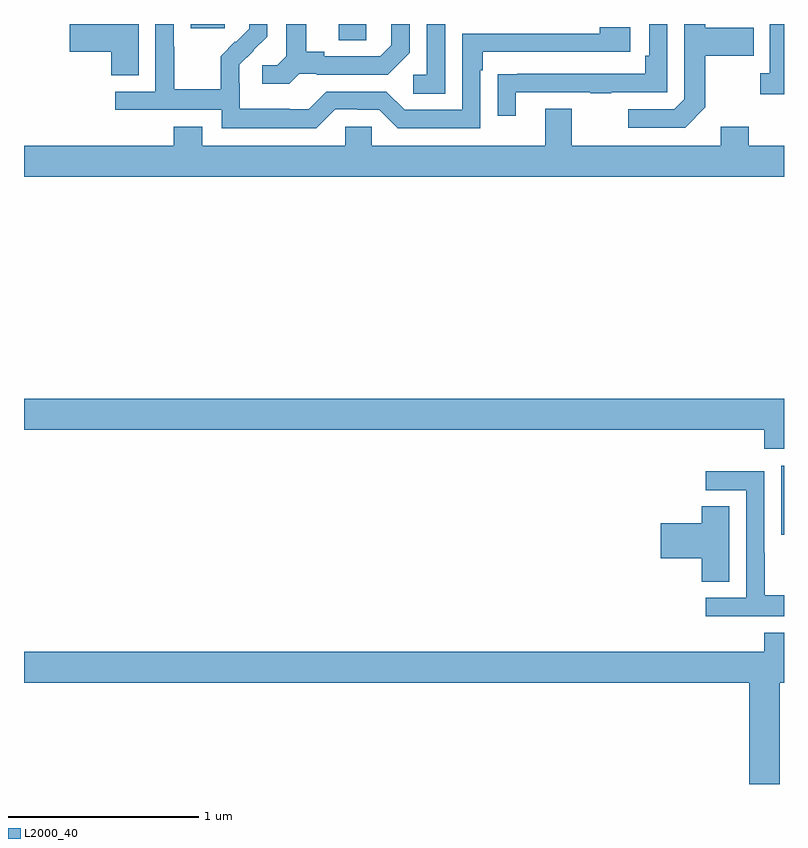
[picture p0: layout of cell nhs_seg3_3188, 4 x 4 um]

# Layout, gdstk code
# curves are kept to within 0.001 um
import gdstk
lib = gdstk.Library(unit=1e-6, precision=1e-09)
def R(c, l, rs):  # rectangles x0, y0, x1, y1
    for r in rs: c.add(gdstk.rectangle(r[:2], r[2:], *l))
def P(c, l, *ps):  # polygons
    for p in ps: c.add(gdstk.Polygon(p, *l))
L2000_40 = (2000, 40)

nhs_seg3_3188 = lib.new_cell('nhs_seg3_3188')
R(nhs_seg3_3188, L2000_40, [(280.985,685.713,281,686.074), (278.657,688.315,278.802,688.4), (277.877,688.377,278.056,688.4)])
P(nhs_seg3_3188, L2000_40, [(278.637,687.951),(278.753,687.951),(278.753,687.948),(278.871,687.948),(278.967,687.852),(279.402,687.852),(279.402,688.157),(279.415,688.157),(279.415,688.254),(280.192,688.254),(280.192,688.384),(280.031,688.384),(280.031,688.35),(279.306,688.35),(279.306,687.948),(279.003,687.948),(278.907,688.044),(278.592,688.044),(278.499,687.951),(278.399,687.951),(278.399,687.955),(278.136,687.955),(278.136,688.089),(278.134,688.089),(278.134,688.186),(278.28,688.334),(278.28,688.4),(278.186,688.4),(278.186,688.376),(278.115,688.305),(278.112,688.308),(278.035,688.231),(278.035,688.057),(277.791,688.057),(277.791,688.28),(277.788,688.28),(277.788,688.4),(277.692,688.4),(277.692,688.044),(277.479,688.044),(277.479,687.948),(278.04,687.948),(278.04,687.851),(278.537,687.851)],
  [(280.585,687.961),(280.585,688.234),(280.841,688.234),(280.841,688.381),(280.585,688.381),(280.585,688.4),(280.476,688.4),(280.476,688.005),(280.422,687.951),(280.179,687.951),(280.179,687.855),(280.479,687.855)],
  [(279.589,688.041),(279.979,688.041),(279.979,688.036),(280.091,688.036),(280.091,688.041),(280.386,688.041),(280.386,688.4),(280.29,688.4),(280.29,688.234),(280.27,688.234),(280.27,688.137),(279.595,688.137),(279.595,688.136),(279.493,688.136),(279.493,687.918),(279.589,687.918)],
  [(277.603,688.4),(277.242,688.4),(277.242,688.253),(277.46,688.253),(277.46,688.129),(277.603,688.129)],
  [(279.216,688.4),(279.12,688.4),(279.12,688.134),(279.048,688.134),(279.048,688.033),(279.216,688.033)],
  [(278.448,688.137),(278.542,688.137),(278.542,688.134),(278.914,688.134),(279.03,688.25),(279.03,688.4),(278.933,688.4),(278.933,688.287),(278.876,688.23),(278.581,688.23),(278.581,688.253),(278.485,688.253),(278.485,688.4),(278.381,688.4),(278.381,688.229),(278.334,688.182),(278.253,688.182),(278.253,688.085),(278.396,688.085)],
  [(281,688.4),(280.926,688.4),(280.926,688.142),(280.875,688.142),(280.875,688.029),(281,688.029)],
  [(281,687.76),(280.815,687.76),(280.815,687.859),(280.667,687.859),(280.667,687.76),(279.883,687.76),(279.883,687.955),(279.743,687.955),(279.743,687.76),(278.829,687.76),(278.829,687.858),(278.691,687.858),(278.691,687.76),(277.939,687.76),(277.939,687.859),(277.787,687.859),(277.787,687.76),(277,687.76),(277,687.596),(281,687.596)],
  [(281,686.428),(277,686.428),(277,686.264),(280.895,686.264),(280.895,686.165),(281,686.165)],
  [(281,685.393),(280.899,685.393),(280.899,685.616),(280.896,685.616),(280.896,686.046),(280.587,686.046),(280.587,685.947),(280.8,685.947),(280.8,685.38),(280.587,685.38),(280.587,685.284),(281,685.284)],
  [(280.711,685.862),(280.568,685.862),(280.568,685.772),(280.35,685.772),(280.35,685.589),(280.568,685.589),(280.568,685.465),(280.711,685.465)],
  [(280.977,684.932),(281,684.932),(281,685.195),(280.895,685.195),(280.895,685.096),(277,685.096),(277,684.932),(280.817,684.932),(280.817,684.4),(280.977,684.4)])

lib.write_gds('nhs_seg3_3188.gds')
